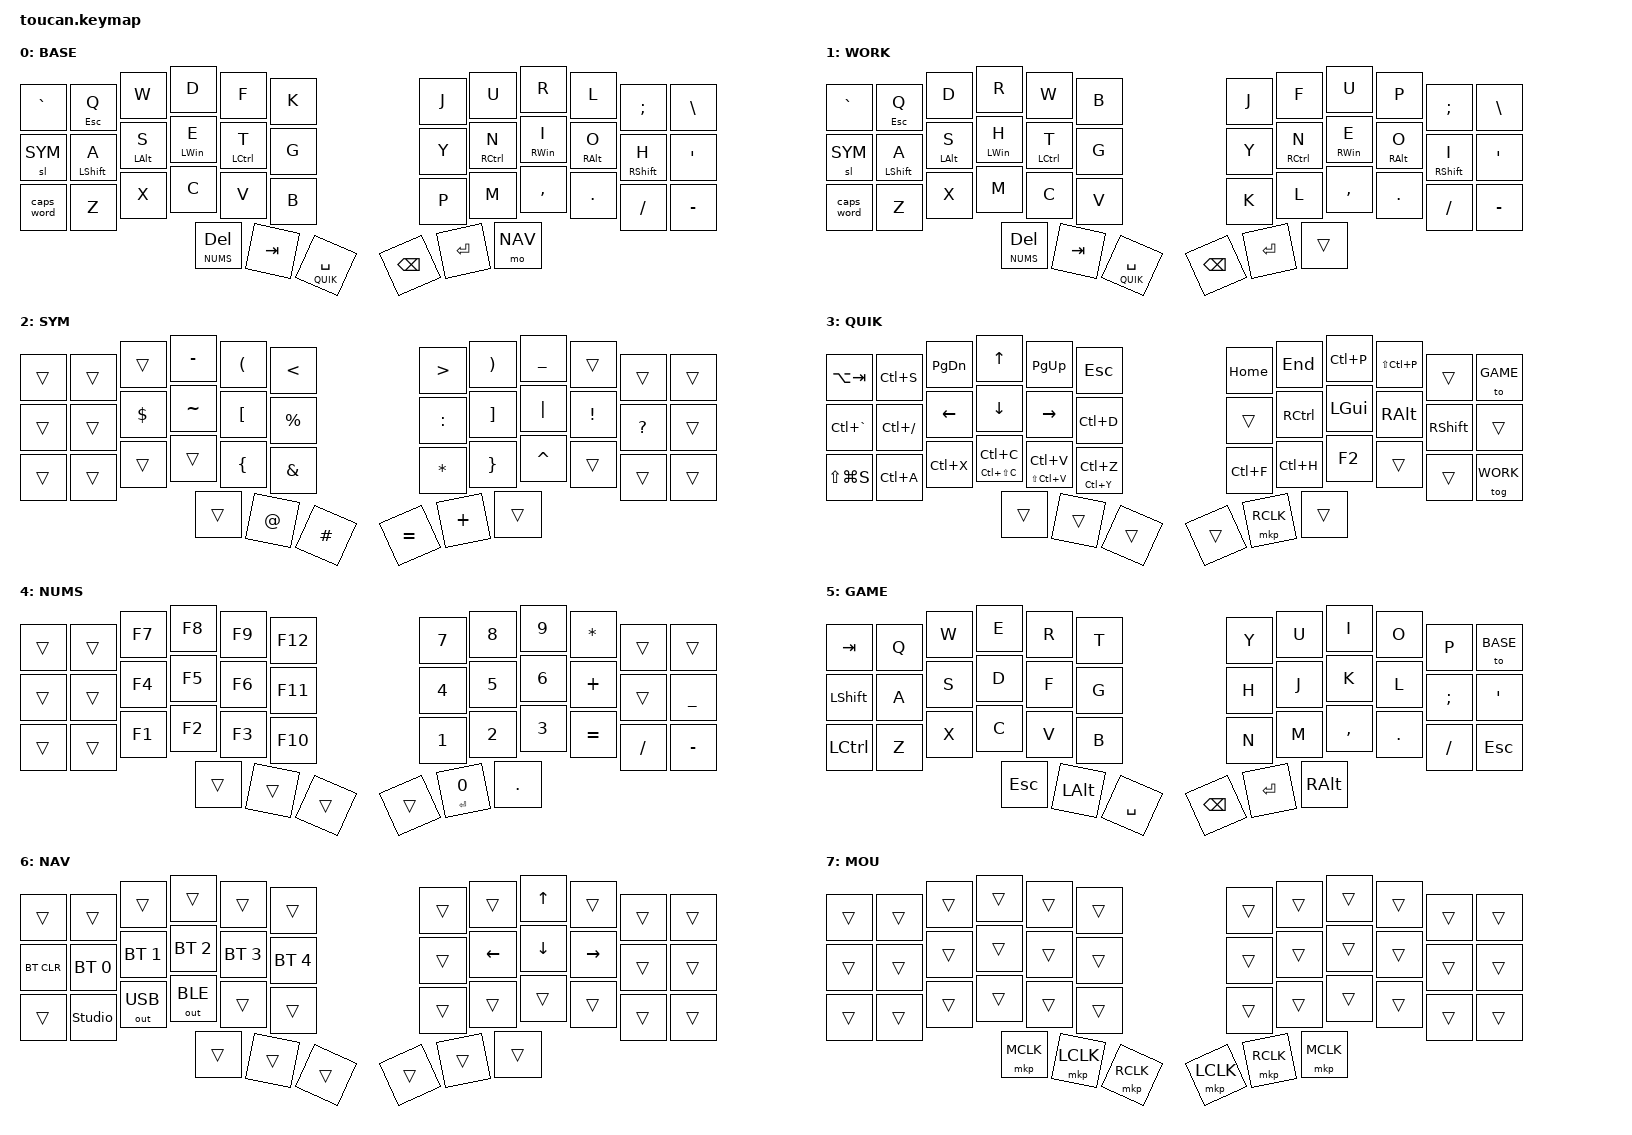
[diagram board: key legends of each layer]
#include <dt-bindings/zmk/mouse.h>
#include <behaviors.dtsi>
#include <dt-bindings/zmk/bt.h>
#include <dt-bindings/zmk/keys.h>
#include <dt-bindings/zmk/outputs.h>
#include <dt-bindings/zmk/pointing.h>

#define BASE 0
#define WORK 1
#define SYM  2
#define QUIK 3
#define NUMS 4
#define GAME 5
#define NAV  6

/ {
    behaviors {
        hm: home_row_mods {
            compatible = "zmk,behavior-hold-tap";
            #binding-cells = <2>;
            flavor = "tap-preferred";  /* Prioritizes Tapping */
            tapping-term-ms = <200>;   /* How long you must hold to get a mod */
            quick-tap-ms = <200>;      /* Allows double-tapping for repeating letters */
            require-prior-idle-ms = <125>; /* Prevents accidental mods when rolling */
            bindings = <&kp>, <&kp>;
        };
    };

    conditional_layers { compatible = "zmk,conditional-layers"; };

    keymap {
        compatible = "zmk,keymap";

        base {
            display-name = "BASE";
            bindings = <
&kp GRAVE  &mt ESCAPE Q  &kp W  &kp D  &kp F  &kp K  &kp J  &kp U  &kp R  &kp L  &kp SEMI  &kp BACKSLASH  &sl SYM  &hm LEFT_SHIFT A  &hm LEFT_ALT S  &hm LEFT_WIN E  &hm LCTRL T  &kp G  &kp Y  &hm RCTRL N  &hm RIGHT_WIN I  &hm RIGHT_ALT O  &hm RIGHT_SHIFT H  &kp SQT  &caps_word  &kp Z  &kp X  &kp C  &kp V  &kp B  &kp P  &kp M  &kp COMMA  &kp DOT  &kp FSLH  &kp MINUS  &lt NUMS DELETE  &kp TAB  &lt QUIK SPACE  &kp BSPC  &kp RET  &mo NAV
            >;
        };

        work {
            display-name = "WORK";
            bindings = <
&kp GRAVE  &mt ESCAPE Q  &kp D  &kp R  &kp W  &kp B  &kp J  &kp F  &kp U  &kp P  &kp SEMI  &kp BACKSLASH  &sl SYM  &hm LEFT_SHIFT A  &hm LEFT_ALT S  &hm LEFT_WIN H  &hm LCTRL T  &kp G  &kp Y  &hm RCTRL N  &hm RIGHT_WIN E  &hm RIGHT_ALT O  &hm RIGHT_SHIFT I  &kp SQT  &caps_word  &kp Z  &kp X  &kp M  &kp C  &kp V  &kp K  &kp L  &kp COMMA  &kp DOT  &kp FSLH  &kp MINUS  &lt NUMS DELETE  &kp TAB  &lt QUIK SPACE  &kp BSPC  &kp RET  &trans
            >;
        };

        sym {
            display-name = "SYM";
            bindings = <
&trans  &trans  &trans  &kp MINUS  &kp LEFT_PARENTHESIS  &kp LESS_THAN  &kp GREATER_THAN  &kp RIGHT_PARENTHESIS  &kp UNDERSCORE  &trans  &trans  &trans  &trans  &trans  &kp DOLLAR  &kp TILDE  &kp LEFT_BRACKET  &kp PERCENT  &kp COLON  &kp RIGHT_BRACKET  &kp PIPE  &kp EXCLAMATION  &kp QUESTION  &trans  &trans  &trans  &trans  &trans  &kp LEFT_BRACE  &kp AMPERSAND  &kp ASTERISK  &kp RIGHT_BRACE  &kp CARET  &trans  &trans  &trans  &trans  &kp AT_SIGN  &kp HASH  &kp EQUAL  &kp PLUS  &trans
            >;
        };

        quik {
            display-name = "QUIK";
            bindings = <
&kp LA(TAB)  &kp LC(S)  &kp PAGE_DOWN  &kp UP_ARROW  &kp PG_UP  &kp ESCAPE  &kp HOME  &kp END  &kp LC(P)  &kp LS(LC(P))  &trans  &to GAME  &kp LC(GRAVE)  &kp LC(SLASH)  &kp LEFT_ARROW  &kp DOWN_ARROW  &kp RIGHT_ARROW  &kp LC(D)  &trans  &kp RCTRL  &kp LEFT_GUI  &kp RIGHT_ALT  &kp RSHIFT  &trans  &kp LS(LG(S))  &kp LC(A)  &kp LC(X)  &mt LC(LS(C)) LC(C)  &mt LS(LC(V)) LC(V)  &mt LC(Y) LC(Z)  &kp LC(F)  &kp LC(H)  &kp F2  &trans  &trans  &tog WORK  &trans  &trans  &trans  &trans  &mkp RCLK  &trans
            >;
        };

        nums {
            display-name = "NUMS";
            bindings = <
&trans  &trans  &kp F7  &kp F8  &kp F9  &kp F12  &kp N7  &kp N8  &kp NUMBER_9  &kp ASTERISK  &trans  &trans  &trans  &trans  &kp F4  &kp F5  &kp F6  &kp F11  &kp NUMBER_4  &kp N5  &kp NUMBER_6  &kp PLUS  &trans  &kp UNDERSCORE  &trans  &trans  &kp F1  &kp F2  &kp F3  &kp F10  &kp NUMBER_1  &kp NUMBER_2  &kp NUMBER_3  &kp EQUAL  &kp SLASH  &kp MINUS  &trans  &trans  &trans  &trans  &mt ENTER NUMBER_0  &kp PERIOD
            >;
        };

        game {
            display-name = "GAME";
            bindings = <
&kp TAB  &kp Q  &kp W  &kp E  &kp R  &kp T  &kp Y  &kp U  &kp I  &kp O  &kp P  &to BASE  &kp LEFT_SHIFT  &kp A  &kp S  &kp D  &kp F  &kp G  &kp H  &kp J  &kp K  &kp L  &kp SEMI  &kp SQT  &kp LCTRL  &kp Z  &kp X  &kp C  &kp V  &kp B  &kp N  &kp M  &kp COMMA  &kp DOT  &kp FSLH  &kp ESC  &kp ESCAPE  &kp LEFT_ALT  &kp SPACE  &kp BACKSPACE  &kp ENTER  &kp RALT
            >;
        };

        nav {
            display-name = "NAV";
            bindings = <
&trans  &trans  &trans  &trans  &trans  &trans  &trans  &trans  &kp UP_ARROW  &trans  &trans  &trans  &bt BT_CLR  &bt BT_SEL 0  &bt BT_SEL 1  &bt BT_SEL 2  &bt BT_SEL 3  &bt BT_SEL 4  &trans  &kp LEFT  &kp DOWN  &kp RIGHT  &trans  &trans  &trans  &studio_unlock  &out OUT_USB  &out OUT_BLE  &trans  &trans  &trans  &trans  &trans  &trans  &trans  &trans  &trans  &trans  &trans  &trans  &trans  &trans
            >;
        };
        mouse {
            display-name = "MOU";
            bindings = <
                &trans &trans &trans &trans &trans &trans           &trans &trans &trans &trans &trans &trans
                &trans &trans &trans &trans &trans &trans           &trans &trans &trans &trans &trans &trans
                &trans &trans &trans &trans &trans &trans           &trans &trans &trans &trans &trans &trans
                            &mkp MCLK &mkp LCLK &mkp RCLK           &mkp LCLK &mkp RCLK &mkp MCLK
            >;
        };

    };
};
